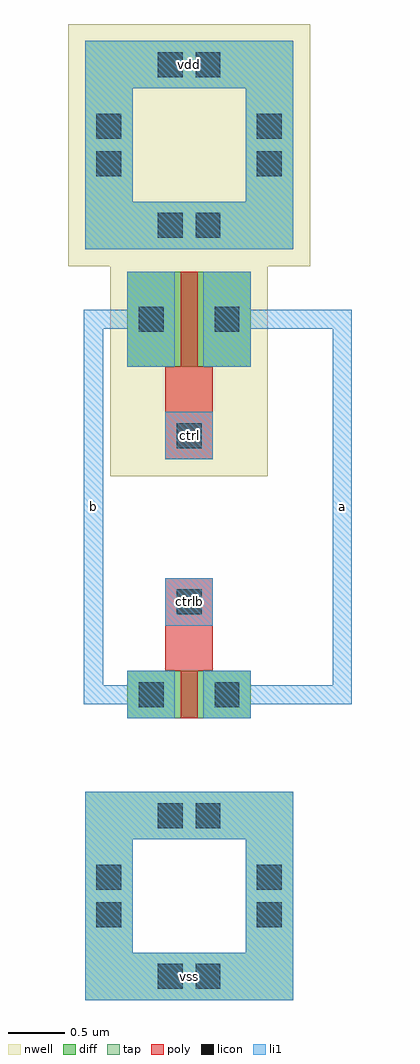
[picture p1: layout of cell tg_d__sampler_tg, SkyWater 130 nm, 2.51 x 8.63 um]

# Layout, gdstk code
import gdstk
lib = gdstk.Library(unit=1e-6, precision=1e-09)
def R(c, l, rs):  # rectangles x0, y0, x1, y1
    for r in rs: c.add(gdstk.rectangle(r[:2], r[2:], *l))
def P(c, l, *ps):  # polygons
    for p in ps: c.add(gdstk.Polygon(p, *l))
nwell = (64, 20)
diff = (65, 20)
tap = (65, 44)
poly = (66, 20)
licon = (66, 44)
li1 = (67, 20)

mos_array_1_1 = lib.new_cell('mos_array$1$1')
R(mos_array_1_1, nwell, [(-0.15,-0.15,1.24,1.81)])
R(mos_array_1_1, diff, [(0,0,1.09,0.84)])
R(mos_array_1_1, poly, [(0.47,0,0.62,0.84), (0.335,0.84,0.755,1.66)])
R(mos_array_1_1, licon, [(0.1,0.31,0.32,0.53), (0.77,0.31,0.99,0.53), (0.435,1.34,0.655,1.56)])
R(mos_array_1_1, li1, [(0,0,0.42,0.84), (0.67,0,1.09,0.84), (0.335,1.24,0.755,1.66)])

mp__pfet_w0p84_l0p15_1 = lib.new_cell('mp__pfet_w0p84_l0p15$1')
mp__pfet_w0p84_l0p15_1.add(gdstk.Reference(mos_array_1_1, (0,0)))

guard_ring_1_1 = lib.new_cell('guard_ring$1$1')
R(guard_ring_1_1, nwell, [(-0.15,-0.15,1.99,1.99)])
P(guard_ring_1_1, tap, [(0,0),(0,1.42),(0.42,1.42),(0.42,0.42),(1.42,0.42),(1.42,1.42),(0,1.42),(0,1.84),(1.84,1.84),(1.84,0)])
R(guard_ring_1_1, licon, [(0.643,0.1,0.863,0.32), (0.977,0.1,1.197,0.32), (0.1,0.643,0.32,0.863), (1.52,0.643,1.74,0.863), (0.1,0.977,0.32,1.197), (1.52,0.977,1.74,1.197), (0.643,1.52,0.863,1.74), (0.977,1.52,1.197,1.74)])
P(guard_ring_1_1, li1, [(0,0),(0,1.42),(0.42,1.42),(0.42,0.42),(1.42,0.42),(1.42,1.42),(0,1.42),(0,1.84),(1.84,1.84),(1.84,0)])

nwell_tap__nwell_tap_1 = lib.new_cell('nwell_tap__nwell_tap$1')
nwell_tap__nwell_tap_1.add(gdstk.Reference(guard_ring_1_1, (0,0)))

mos_array_2 = lib.new_cell('mos_array$2')
R(mos_array_2, diff, [(0,0,1.09,0.42)])
R(mos_array_2, poly, [(0.47,0,0.62,0.42), (0.335,0.42,0.755,1.24)])
R(mos_array_2, licon, [(0.1,0.1,0.32,0.32), (0.77,0.1,0.99,0.32), (0.435,0.92,0.655,1.14)])
R(mos_array_2, li1, [(0,0,0.42,0.42), (0.67,0,1.09,0.42), (0.335,0.82,0.755,1.24)])

mn__nfet_w0p42_l0p15_1 = lib.new_cell('mn__nfet_w0p42_l0p15$1')
mn__nfet_w0p42_l0p15_1.add(gdstk.Reference(mos_array_2, (0,0)))

guard_ring_2 = lib.new_cell('guard_ring$2')
P(guard_ring_2, tap, [(0,0),(0,1.42),(0.42,1.42),(0.42,0.42),(1.42,0.42),(1.42,1.42),(0,1.42),(0,1.84),(1.84,1.84),(1.84,0)])
R(guard_ring_2, licon, [(0.643,0.1,0.863,0.32), (0.977,0.1,1.197,0.32), (0.1,0.643,0.32,0.863), (1.52,0.643,1.74,0.863), (0.1,0.977,0.32,1.197), (1.52,0.977,1.74,1.197), (0.643,1.52,0.863,1.74), (0.977,1.52,1.197,1.74)])
P(guard_ring_2, li1, [(0,0),(0,1.42),(0.42,1.42),(0.42,0.42),(1.42,0.42),(1.42,1.42),(0,1.42),(0,1.84),(1.84,1.84),(1.84,0)])

psub_tap__psub_tap_1 = lib.new_cell('psub_tap__psub_tap$1')
psub_tap__psub_tap_1.add(gdstk.Reference(guard_ring_2, (0,0)))

tg_d__sampler_tg = lib.new_cell('tg_d__sampler_tg')
tg_d__sampler_tg.add(gdstk.FlexPath([(0.88,3.53),(1.9,3.53),(1.9,0.21),(0.88,0.21)], 0.17, ends="flush", simple_path=True, layer=67, datatype=20))  # li1
tg_d__sampler_tg.add(gdstk.FlexPath([(0.21,0.21),(-0.3,0.21),(-0.3,3.53),(0.21,3.53)], 0.17, ends="flush", simple_path=True, layer=67, datatype=20))  # li1
tg_d__sampler_tg.add(gdstk.Reference(mp__pfet_w0p84_l0p15_1, (0,3.95), x_reflection=True))
tg_d__sampler_tg.add(gdstk.Reference(nwell_tap__nwell_tap_1, (-0.375,4.15)))
tg_d__sampler_tg.add(gdstk.Reference(mn__nfet_w0p42_l0p15_1, (0,0)))
tg_d__sampler_tg.add(gdstk.Reference(psub_tap__psub_tap_1, (-0.375,-2.49)))
tg_d__sampler_tg.add(gdstk.Label('a', (1.9,1.87), layer=67, texttype=5))
tg_d__sampler_tg.add(gdstk.Label('b', (-0.3,1.87), layer=67, texttype=5))
tg_d__sampler_tg.add(gdstk.Label('ctrl', (0.545,2.5), layer=67, texttype=5))
tg_d__sampler_tg.add(gdstk.Label('ctrlb', (0.545,1.03), layer=67, texttype=5))
tg_d__sampler_tg.add(gdstk.Label('vdd', (0.545,5.78), layer=67, texttype=5))
tg_d__sampler_tg.add(gdstk.Label('vss', (0.545,-2.28), layer=67, texttype=5))

lib.write_gds('tg_d__sampler_tg.gds')
